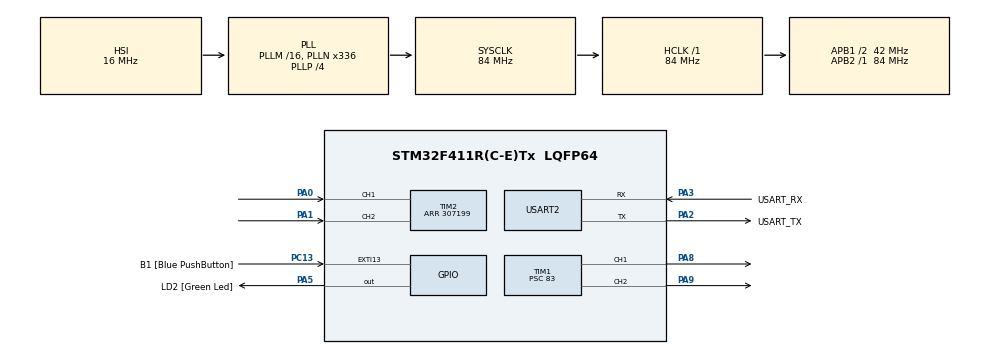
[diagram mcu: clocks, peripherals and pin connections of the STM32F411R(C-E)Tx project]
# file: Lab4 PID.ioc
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Mcu.Family=STM32F4
Mcu.Name=STM32F411R(C-E)Tx
Mcu.Package=LQFP64
NVIC.PriorityGroup=NVIC_PRIORITYGROUP_0
PA0-WKUP.Signal=S_TIM2_CH1_ETR
PA1.Signal=S_TIM2_CH2
PA13.GPIO_Label=TMS
PA13.Mode=Trace_Asynchronous_SW
PA13.Signal=SYS_JTMS-SWDIO
PA14.GPIO_Label=TCK
PA14.Mode=Trace_Asynchronous_SW
PA14.Signal=SYS_JTCK-SWCLK
PA2.GPIO_Label=USART_TX
PA2.Mode=Asynchronous
PA2.Signal=USART2_TX
PA3.GPIO_Label=USART_RX
PA3.Mode=Asynchronous
PA3.Signal=USART2_RX
PA5.GPIO_Label=LD2 [Green Led]
PA5.Signal=GPIO_Output
PA8.Signal=S_TIM1_CH1
PA9.Signal=S_TIM1_CH2
PB3.GPIO_Label=SWO
PB3.Mode=Trace_Asynchronous_SW
PB3.Signal=SYS_JTDO-SWO
PC13-ANTI_TAMP.GPIO_Label=B1 [Blue PushButton]
PC13-ANTI_TAMP.GPIO_ModeDefaultEXTI=GPIO_MODE_IT_FALLING
PC13-ANTI_TAMP.Signal=GPXTI13
PC14-OSC32_IN.Mode=LSE-External-Oscillator
PC14-OSC32_IN.Signal=RCC_OSC32_IN
PC15-OSC32_OUT.Mode=LSE-External-Oscillator
PC15-OSC32_OUT.Signal=RCC_OSC32_OUT
PH0\ -\ OSC_IN.Mode=HSE-External-Clock-Source
PH0\ -\ OSC_IN.Signal=RCC_OSC_IN
PH1\ -\ OSC_OUT.Mode=HSE-External-Clock-Source
PH1\ -\ OSC_OUT.Signal=RCC_OSC_OUT
ProjectManager.HeapSize=0x200
ProjectManager.StackSize=0x400
ProjectManager.TargetToolchain=STM32CubeIDE
RCC.48MHZClocksFreq_Value=84000000
RCC.AHBFreq_Value=84000000
RCC.APB1CLKDivider=RCC_HCLK_DIV2
RCC.APB1Freq_Value=42000000
RCC.APB1TimFreq_Value=84000000
RCC.APB2Freq_Value=84000000
RCC.APB2TimFreq_Value=84000000
RCC.CortexFreq_Value=84000000
RCC.FLatency-AdvancedSettings=FLASH_LATENCY_2
RCC.HCLKFreq_Value=84000000
RCC.HSE_VALUE=8000000
RCC.HSI_VALUE=16000000
RCC.PLLN=336
RCC.PLLP=RCC_PLLP_DIV4
RCC.SYSCLKFreq_VALUE=84000000
RCC.SYSCLKSource=RCC_SYSCLKSOURCE_PLLCLK
RCC.VCOOutputFreq_Value=336000000
SH.S_TIM1_CH1.0=TIM1_CH1,PWM Generation1 CH1
SH.S_TIM1_CH2.0=TIM1_CH2,PWM Generation2 CH2
SH.S_TIM2_CH1_ETR.0=TIM2_CH1,Encoder_Interface
SH.S_TIM2_CH2.0=TIM2_CH2,Encoder_Interface
TIM1.Channel-PWM\ Generation1\ CH1=TIM_CHANNEL_1
TIM1.Channel-PWM\ Generation2\ CH2=TIM_CHANNEL_2
TIM1.Period=99
TIM1.Prescaler=83
TIM1.Pulse-PWM\ Generation1\ CH1=100
TIM1.Pulse-PWM\ Generation2\ CH2=100
TIM2.EncoderMode=TIM_ENCODERMODE_TI12
TIM2.Period=307199
USART2.VirtualMode=VM_ASYNC
VP_TIM1_VS_ClockSourceINT.Mode=Internal
board=NUCLEO-F411RE

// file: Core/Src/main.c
/* USER CODE BEGIN Header */
/**
  ******************************************************************************
  * @file           : main.c
  * @brief          : Main program body
  ******************************************************************************
  * @attention
  *
  * Copyright (c) 2023 STMicroelectronics.
  * All rights reserved.
  *
  * This software is licensed under terms that can be found in the LICENSE file
  * in the root directory of this software component.
  * If no LICENSE file comes with this software, it is provided AS-IS.
  *
  ******************************************************************************
  */
/* USER CODE END Header */
#include "main.h"

/* USER CODE BEGIN Includes */
#include "arm_math.h"
/* USER CODE END Includes */

TIM_HandleTypeDef htim1;
TIM_HandleTypeDef htim2;

UART_HandleTypeDef huart2;

/* USER CODE BEGIN PV */
uint32_t QEIReadRaw;
float position = 0;
int8_t direction = 0;
float Kp = 1.3;
float Ki = 0;
float Kd = 0;
int32_t setpoint = 0;
int32_t pre_e ;
int32_t e;
float u = 0;
float PWM_motor = 0;
float Delta_t = 1;
float Delta_By_dt;
float e_integral;

//arm_pid_instance_f32 PID = {0};
//float position =0;
//float setposition =0;
//float Vfeedback =0;
/* USER CODE END PV */

void SystemClock_Config(void);
static void MX_GPIO_Init(void);
static void MX_USART2_UART_Init(void);
static void MX_TIM2_Init(void);
static void MX_TIM1_Init(void);

int main(void)
{

  /* MCU Configuration--------------------------------------------------------*/

  /* Reset of all peripherals, Initializes the Flash interface and the Systick. */
  HAL_Init();

  /* Configure the system clock */
  SystemClock_Config();

  /* Initialize all configured peripherals */
  MX_GPIO_Init();
  MX_USART2_UART_Init();
  MX_TIM2_Init();
  MX_TIM1_Init();
  /* USER CODE BEGIN 2 */
  //PID.Kp =0.1;
  //PID.Ki =0.1;
  //PID.Kd =0.1;
  //arm_pid_init_f32(&PID,0);

  HAL_TIM_Encoder_Start(&htim2, TIM_CHANNEL_1|TIM_CHANNEL_2);
  HAL_TIM_Base_Start(&htim1);

  HAL_TIM_PWM_Start(&htim1, TIM_CHANNEL_1);
  HAL_TIM_PWM_Start(&htim1, TIM_CHANNEL_2);
  /* USER CODE END 2 */

  /* Infinite loop */
  while (1)
  {

    /* USER CODE BEGIN 3 */
	     QEIReadRaw = __HAL_TIM_GET_COUNTER(&htim2);
	     position = (QEIReadRaw*36000)/307200;
	     e = setpoint - position  ; // error
	     Delta_By_dt = (e-pre_e)/Delta_t ;  //KD
	     e_integral = e_integral+(e*Delta_t); //KI
	     u = (Kp * e)+(Ki*e_integral)+(Kd*Delta_By_dt) ; //KP //Process
	     PWM_motor = fabs(u);

	     if (u > 0){direction = 1;}
	     if (u < 0){direction = -1;}
	     if (direction == -1)
	     {
	      __HAL_TIM_SET_COMPARE(&htim1, TIM_CHANNEL_1, PWM_motor);
	      __HAL_TIM_SET_COMPARE(&htim1, TIM_CHANNEL_2, 0);
	     }
	     else if (direction == 1)
	     {
	      __HAL_TIM_SET_COMPARE(&htim1, TIM_CHANNEL_1, 0);
	      __HAL_TIM_SET_COMPARE(&htim1, TIM_CHANNEL_2, PWM_motor);
	     }

	    pre_e = e;

  }
  /* USER CODE END 3 */
}

void SystemClock_Config(void)
{
  RCC_OscInitTypeDef RCC_OscInitStruct = {0};
  RCC_ClkInitTypeDef RCC_ClkInitStruct = {0};

  /** Configure the main internal regulator output voltage
  */
  __HAL_RCC_PWR_CLK_ENABLE();
  __HAL_PWR_VOLTAGESCALING_CONFIG(PWR_REGULATOR_VOLTAGE_SCALE1);

  /** Initializes the RCC Oscillators according to the specified parameters
  * in the RCC_OscInitTypeDef structure.
  */
  RCC_OscInitStruct.OscillatorType = RCC_OSCILLATORTYPE_HSI;
  RCC_OscInitStruct.HSIState = RCC_HSI_ON;
  RCC_OscInitStruct.HSICalibrationValue = RCC_HSICALIBRATION_DEFAULT;
  RCC_OscInitStruct.PLL.PLLState = RCC_PLL_ON;
  RCC_OscInitStruct.PLL.PLLSource = RCC_PLLSOURCE_HSI;
  RCC_OscInitStruct.PLL.PLLM = 16;
  RCC_OscInitStruct.PLL.PLLN = 336;
  RCC_OscInitStruct.PLL.PLLP = RCC_PLLP_DIV4;
  RCC_OscInitStruct.PLL.PLLQ = 4;
  if (HAL_RCC_OscConfig(&RCC_OscInitStruct) != HAL_OK)
  {
    Error_Handler();
  }

  /** Initializes the CPU, AHB and APB buses clocks
  */
  RCC_ClkInitStruct.ClockType = RCC_CLOCKTYPE_HCLK|RCC_CLOCKTYPE_SYSCLK
                              |RCC_CLOCKTYPE_PCLK1|RCC_CLOCKTYPE_PCLK2;
  RCC_ClkInitStruct.SYSCLKSource = RCC_SYSCLKSOURCE_PLLCLK;
  RCC_ClkInitStruct.AHBCLKDivider = RCC_SYSCLK_DIV1;
  RCC_ClkInitStruct.APB1CLKDivider = RCC_HCLK_DIV2;
  RCC_ClkInitStruct.APB2CLKDivider = RCC_HCLK_DIV1;

  if (HAL_RCC_ClockConfig(&RCC_ClkInitStruct, FLASH_LATENCY_2) != HAL_OK)
  {
    Error_Handler();
  }
}

static void MX_TIM1_Init(void)
{

  TIM_ClockConfigTypeDef sClockSourceConfig = {0};
  TIM_MasterConfigTypeDef sMasterConfig = {0};
  TIM_OC_InitTypeDef sConfigOC = {0};
  TIM_BreakDeadTimeConfigTypeDef sBreakDeadTimeConfig = {0};

  htim1.Instance = TIM1;
  htim1.Init.Prescaler = 83;
  htim1.Init.CounterMode = TIM_COUNTERMODE_UP;
  htim1.Init.Period = 99;
  htim1.Init.ClockDivision = TIM_CLOCKDIVISION_DIV1;
  htim1.Init.RepetitionCounter = 0;
  htim1.Init.AutoReloadPreload = TIM_AUTORELOAD_PRELOAD_DISABLE;
  if (HAL_TIM_Base_Init(&htim1) != HAL_OK)
  {
    Error_Handler();
  }
  sClockSourceConfig.ClockSource = TIM_CLOCKSOURCE_INTERNAL;
  if (HAL_TIM_ConfigClockSource(&htim1, &sClockSourceConfig) != HAL_OK)
  {
    Error_Handler();
  }
  if (HAL_TIM_PWM_Init(&htim1) != HAL_OK)
  {
    Error_Handler();
  }
  sMasterConfig.MasterOutputTrigger = TIM_TRGO_RESET;
  sMasterConfig.MasterSlaveMode = TIM_MASTERSLAVEMODE_DISABLE;
  if (HAL_TIMEx_MasterConfigSynchronization(&htim1, &sMasterConfig) != HAL_OK)
  {
    Error_Handler();
  }
  sConfigOC.OCMode = TIM_OCMODE_PWM1;
  sConfigOC.Pulse = 100;
  sConfigOC.OCPolarity = TIM_OCPOLARITY_HIGH;
  sConfigOC.OCNPolarity = TIM_OCNPOLARITY_HIGH;
  sConfigOC.OCFastMode = TIM_OCFAST_DISABLE;
  sConfigOC.OCIdleState = TIM_OCIDLESTATE_RESET;
  sConfigOC.OCNIdleState = TIM_OCNIDLESTATE_RESET;
  if (HAL_TIM_PWM_ConfigChannel(&htim1, &sConfigOC, TIM_CHANNEL_1) != HAL_OK)
  {
    Error_Handler();
  }
  if (HAL_TIM_PWM_ConfigChannel(&htim1, &sConfigOC, TIM_CHANNEL_2) != HAL_OK)
  {
    Error_Handler();
  }
  sBreakDeadTimeConfig.OffStateRunMode = TIM_OSSR_DISABLE;
  sBreakDeadTimeConfig.OffStateIDLEMode = TIM_OSSI_DISABLE;
  sBreakDeadTimeConfig.LockLevel = TIM_LOCKLEVEL_OFF;
  sBreakDeadTimeConfig.DeadTime = 0;
  sBreakDeadTimeConfig.BreakState = TIM_BREAK_DISABLE;
  sBreakDeadTimeConfig.BreakPolarity = TIM_BREAKPOLARITY_HIGH;
  sBreakDeadTimeConfig.AutomaticOutput = TIM_AUTOMATICOUTPUT_DISABLE;
  if (HAL_TIMEx_ConfigBreakDeadTime(&htim1, &sBreakDeadTimeConfig) != HAL_OK)
  {
    Error_Handler();
  }
  HAL_TIM_MspPostInit(&htim1);

}

static void MX_TIM2_Init(void)
{

  TIM_Encoder_InitTypeDef sConfig = {0};
  TIM_MasterConfigTypeDef sMasterConfig = {0};

  htim2.Instance = TIM2;
  htim2.Init.Prescaler = 0;
  htim2.Init.CounterMode = TIM_COUNTERMODE_UP;
  htim2.Init.Period = 307199;
  htim2.Init.ClockDivision = TIM_CLOCKDIVISION_DIV1;
  htim2.Init.AutoReloadPreload = TIM_AUTORELOAD_PRELOAD_DISABLE;
  sConfig.EncoderMode = TIM_ENCODERMODE_TI12;
  sConfig.IC1Polarity = TIM_ICPOLARITY_RISING;
  sConfig.IC1Selection = TIM_ICSELECTION_DIRECTTI;
  sConfig.IC1Prescaler = TIM_ICPSC_DIV1;
  sConfig.IC1Filter = 0;
  sConfig.IC2Polarity = TIM_ICPOLARITY_RISING;
  sConfig.IC2Selection = TIM_ICSELECTION_DIRECTTI;
  sConfig.IC2Prescaler = TIM_ICPSC_DIV1;
  sConfig.IC2Filter = 0;
  if (HAL_TIM_Encoder_Init(&htim2, &sConfig) != HAL_OK)
  {
    Error_Handler();
  }
  sMasterConfig.MasterOutputTrigger = TIM_TRGO_RESET;
  sMasterConfig.MasterSlaveMode = TIM_MASTERSLAVEMODE_DISABLE;
  if (HAL_TIMEx_MasterConfigSynchronization(&htim2, &sMasterConfig) != HAL_OK)
  {
    Error_Handler();
  }

}

static void MX_USART2_UART_Init(void)
{

  huart2.Instance = USART2;
  huart2.Init.BaudRate = 115200;
  huart2.Init.WordLength = UART_WORDLENGTH_8B;
  huart2.Init.StopBits = UART_STOPBITS_1;
  huart2.Init.Parity = UART_PARITY_NONE;
  huart2.Init.Mode = UART_MODE_TX_RX;
  huart2.Init.HwFlowCtl = UART_HWCONTROL_NONE;
  huart2.Init.OverSampling = UART_OVERSAMPLING_16;
  if (HAL_UART_Init(&huart2) != HAL_OK)
  {
    Error_Handler();
  }

}

static void MX_GPIO_Init(void)
{
  GPIO_InitTypeDef GPIO_InitStruct = {0};

  /* GPIO Ports Clock Enable */
  __HAL_RCC_GPIOC_CLK_ENABLE();
  __HAL_RCC_GPIOH_CLK_ENABLE();
  __HAL_RCC_GPIOA_CLK_ENABLE();
  __HAL_RCC_GPIOB_CLK_ENABLE();

  /*Configure GPIO pin Output Level */
  HAL_GPIO_WritePin(LD2_GPIO_Port, LD2_Pin, GPIO_PIN_RESET);

  /*Configure GPIO pin : B1_Pin */
  GPIO_InitStruct.Pin = B1_Pin;
  GPIO_InitStruct.Mode = GPIO_MODE_IT_FALLING;
  GPIO_InitStruct.Pull = GPIO_NOPULL;
  HAL_GPIO_Init(B1_GPIO_Port, &GPIO_InitStruct);

  /*Configure GPIO pin : LD2_Pin */
  GPIO_InitStruct.Pin = LD2_Pin;
  GPIO_InitStruct.Mode = GPIO_MODE_OUTPUT_PP;
  GPIO_InitStruct.Pull = GPIO_NOPULL;
  GPIO_InitStruct.Speed = GPIO_SPEED_FREQ_LOW;
  HAL_GPIO_Init(LD2_GPIO_Port, &GPIO_InitStruct);

}

/* USER CODE BEGIN 4 */
int _write(int file,char *ptr,int len)
{
	int i;

	for(i =0;i < len;i++)
	{
		ITM_SendChar(*ptr++);
	}
	return len;
}
/* USER CODE END 4 */

void Error_Handler(void)
{
  __disable_irq();
  while (1)
  {
  }
}
